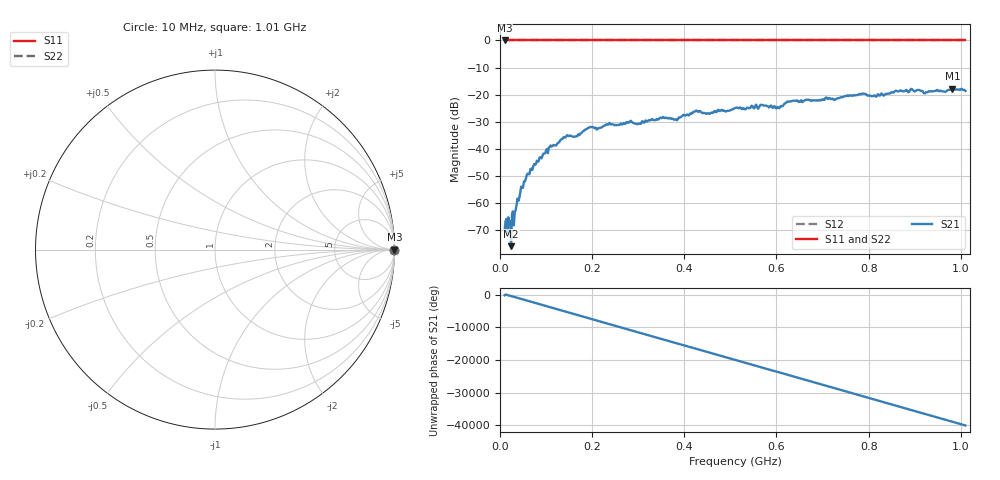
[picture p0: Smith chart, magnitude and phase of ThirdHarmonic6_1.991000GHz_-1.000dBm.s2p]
! 8/16/2025 11:56:00 PM
! C:\ANRITSUVNA\TEMP\TEMP.S2P
! CHANNEL.1
! TR.MEASUREMENT
! RAW.DATA
! RF.CORRECTION.OFF
! AVERAGING.OFF
! IF.BANDWIDTH: 5KHZ
! SWEEPTYPE:  FREQ.SWEEP(Linear)
! Reference Plane Port Info
! PORT:  PORT1  PORT2
! DISTANCE:  0  m  0  m
! TIME:  0  s  0  s
! PHASE.OFFSET:  0  deg.  0  deg.
! LOSS:  0  dB  0  dB
! REF.LOSS:  0  dB  0  dB
! REF.FREQ:  0  Hz  0  Hz
! Power Info
! POWER:  -20  dBm  -20  dBm
! EFF.POWER:  -20  dBm  -20  dBm
! SOURCE.ATTEN:  0  dB  0  dB
! TEST.ATTEN:  0  dB  0  dB
# GHZ S RI R 50.0
! FREQ.GHZ  S11RE  S11IM  S21RE  S21IM  S12RE  S12IM  S22RE  S22IM
!; PortSelection: Port_12
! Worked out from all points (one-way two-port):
!   501 points, 10 MHz to 1.01 GHz, reference 50 ohm
!   highest |S21| = -17.75 dB at 982 MHz (marker M1); lowest = -75.8 dB at 24 MHz (marker M2)
!   lowest |S11| = 0.0 dB at 10 MHz (marker M3)
!   |S11| at or under -10 dB: nowhere
!   |S22| runs from 0.0 to 0.0 dB; largest |S21 - S12| = 1.1
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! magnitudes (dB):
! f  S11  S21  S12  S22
! 10 MHz  0.0  -70.0  0.0  0.0
! 18 MHz  0.0  -65.2  0.0  0.0
! 20 MHz  0.0  -66.6  0.0  0.0
! 24 MHz  0.0  -75.8  0.0  0.0
! 28 MHz  0.0  -63.0  0.0  0.0
! 30 MHz  0.0  -68.1  0.0  0.0
! 48 MHz  0.0  -54.3  0.0  0.0
! 76 MHz  0.0  -45.8  0.0  0.0
! 110 MHz  0.0  -38.7  0.0  0.0
! 178 MHz  0.0  -33.9  0.0  0.0
! 196 MHz  0.0  -31.9  0.0  0.0
! 344 MHz  0.0  -29.1  0.0  0.0
! 382 MHz  0.0  -29.0  0.0  0.0
! 424 MHz  0.0  -26.1  0.0  0.0
! 452 MHz  0.0  -26.8  0.0  0.0
! 510 MHz  0.0  -24.9  0.0  0.0
! 602 MHz  0.0  -24.5  0.0  0.0
! 626 MHz  0.0  -22.6  0.0  0.0
! 678 MHz  0.0  -22.1  0.0  0.0
! 844 MHz  0.0  -19.5  0.0  0.0
! 982 MHz  0.0  -17.7  0.0  0.0
! 1.01 GHz  0.0  -18.6  0.0  0.0
